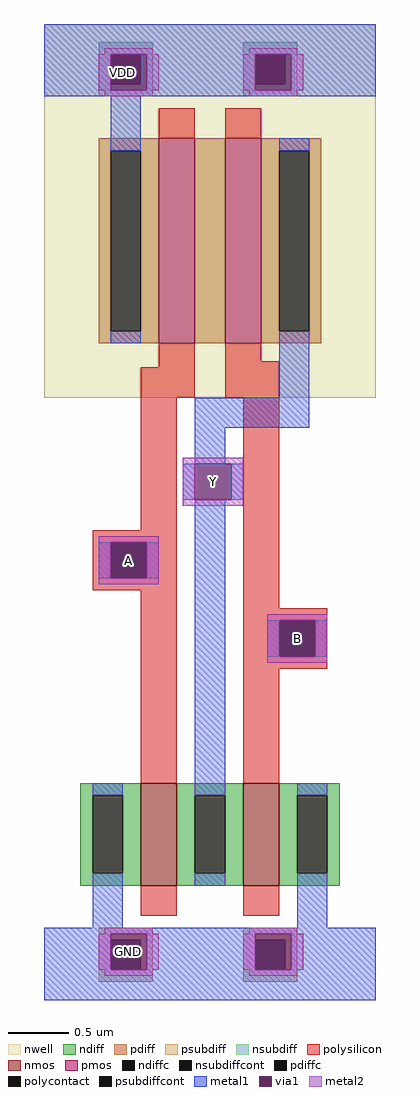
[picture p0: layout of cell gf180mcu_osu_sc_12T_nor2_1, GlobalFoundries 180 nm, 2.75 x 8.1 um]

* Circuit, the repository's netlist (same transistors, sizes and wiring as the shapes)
.inc "../../char/techfiles/design.hspice"
.lib "../../char/techfiles/sm141064.hspice" typical

.GLOBAL VDD
.GLOBAL GND

.option scale=0.05u

.subckt gf180mcu_osu_sc_12T_nor2_1 A Y B
X0 Y B a_25_106 VDD pmos_3p3 w=34 l=6
X1 a_25_106 A VDD VDD pmos_3p3 w=34 l=6
X2 Y A GND GND nmos_3p3 w=17 l=6
X3 GND B Y GND nmos_3p3 w=17 l=6
.ends

** hspice subcircuit dictionary

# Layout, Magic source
magic
tech gf180mcuC
<< nwell >>
rect 0 97 55 159
<< nmos >>
rect 16 16 22 33
rect 33 16 39 33
<< pmos >>
rect 19 106 25 140
rect 30 106 36 140
<< ndiff >>
rect 6 31 16 33
rect 6 18 8 31
rect 13 18 16 31
rect 6 16 16 18
rect 22 31 33 33
rect 22 18 25 31
rect 30 18 33 31
rect 22 16 33 18
rect 39 31 49 33
rect 39 18 42 31
rect 47 18 49 31
rect 39 16 49 18
<< pdiff >>
rect 9 138 19 140
rect 9 108 11 138
rect 16 108 19 138
rect 9 106 19 108
rect 25 106 30 140
rect 36 138 46 140
rect 36 108 39 138
rect 44 108 46 138
rect 36 106 46 108
<< ndiffc >>
rect 8 18 13 31
rect 25 18 30 31
rect 42 18 47 31
<< pdiffc >>
rect 11 108 16 138
rect 39 108 44 138
<< psubdiff >>
rect 9 7 18 9
rect 9 2 11 7
rect 16 2 18 7
rect 9 0 18 2
rect 33 7 42 9
rect 33 2 35 7
rect 40 2 42 7
rect 33 0 42 2
<< nsubdiff >>
rect 9 154 18 156
rect 9 149 11 154
rect 16 149 18 154
rect 9 147 18 149
rect 33 154 42 156
rect 33 149 35 154
rect 40 149 42 154
rect 33 147 42 149
<< psubdiffcont >>
rect 11 2 16 7
rect 35 2 40 7
<< nsubdiffcont >>
rect 11 149 16 154
rect 35 149 40 154
<< polysilicon >>
rect 19 140 25 145
rect 30 140 36 145
rect 19 102 25 106
rect 16 97 25 102
rect 30 103 36 106
rect 30 97 39 103
rect 16 75 22 97
rect 8 73 22 75
rect 8 67 11 73
rect 17 67 22 73
rect 8 65 22 67
rect 16 33 22 65
rect 33 62 39 97
rect 33 60 47 62
rect 33 54 39 60
rect 45 54 47 60
rect 33 52 47 54
rect 33 33 39 52
rect 16 11 22 16
rect 33 11 39 16
<< polycontact >>
rect 11 67 17 73
rect 39 54 45 60
<< metal1 >>
rect 0 154 55 159
rect 0 148 11 154
rect 17 148 35 154
rect 41 148 55 154
rect 0 147 55 148
rect 11 138 16 147
rect 11 106 16 108
rect 39 138 44 140
rect 39 97 44 108
rect 25 92 44 97
rect 25 86 30 92
rect 23 80 25 86
rect 31 80 33 86
rect 9 67 11 73
rect 17 67 19 73
rect 8 31 13 33
rect 8 9 13 18
rect 25 31 30 80
rect 37 54 39 60
rect 45 54 47 60
rect 25 16 30 18
rect 42 31 47 33
rect 42 9 47 18
rect 0 8 55 9
rect 0 2 11 8
rect 17 2 35 8
rect 41 2 55 8
rect 0 -3 55 2
<< via1 >>
rect 11 149 16 154
rect 16 149 17 154
rect 11 148 17 149
rect 35 149 40 154
rect 40 149 41 154
rect 35 148 41 149
rect 25 80 31 86
rect 11 67 17 73
rect 39 54 45 60
rect 11 7 17 8
rect 11 2 16 7
rect 16 2 17 7
rect 35 7 41 8
rect 35 2 40 7
rect 40 2 41 7
<< metal2 >>
rect 10 154 18 155
rect 34 154 42 155
rect 9 148 11 154
rect 17 148 19 154
rect 33 148 35 154
rect 41 148 43 154
rect 10 147 18 148
rect 34 147 42 148
rect 23 86 33 87
rect 23 80 25 86
rect 31 80 33 86
rect 23 79 33 80
rect 9 73 19 74
rect 9 67 11 73
rect 17 67 19 73
rect 9 66 19 67
rect 37 60 47 61
rect 37 54 39 60
rect 45 54 47 60
rect 37 53 47 54
rect 10 8 18 9
rect 34 8 42 9
rect 9 2 11 8
rect 17 2 19 8
rect 33 2 35 8
rect 41 2 43 8
rect 10 1 18 2
rect 34 1 42 2
<< labels >>
rlabel metal2 28 83 28 83 1 Y
port 2 n
rlabel metal2 14 70 14 70 1 A
port 1 n
rlabel metal2 42 57 42 57 1 B
port 3 n
rlabel metal2 13 151 13 151 1 VDD
rlabel metal2 14 5 14 5 1 GND
<< end >>
